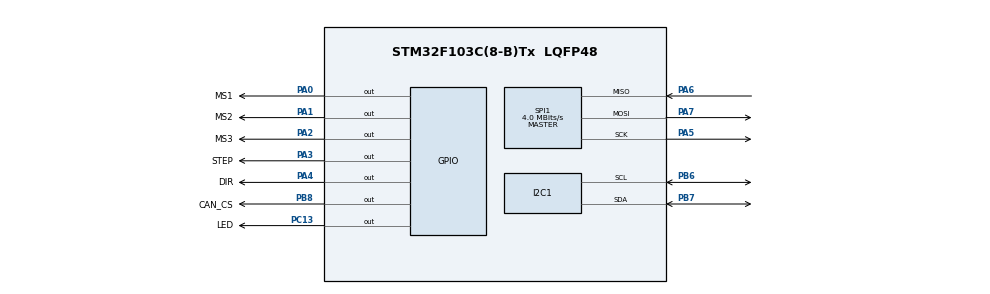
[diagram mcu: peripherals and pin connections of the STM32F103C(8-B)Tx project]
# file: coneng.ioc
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Mcu.Family=STM32F1
Mcu.Name=STM32F103C(8-B)Tx
Mcu.Package=LQFP48
NVIC.PriorityGroup=NVIC_PRIORITYGROUP_4
PA0-WKUP.GPIO_Label=MS1
PA0-WKUP.Signal=GPIO_Output
PA1.GPIO_Label=MS2
PA1.Signal=GPIO_Output
PA13.Mode=Serial_Wire
PA13.Signal=SYS_JTMS-SWDIO
PA14.Mode=Serial_Wire
PA14.Signal=SYS_JTCK-SWCLK
PA2.GPIO_Label=MS3
PA2.Signal=GPIO_Output
PA3.GPIO_Label=STEP
PA3.Signal=GPIO_Output
PA4.GPIO_Label=DIR
PA4.Signal=GPIO_Output
PA5.Mode=Full_Duplex_Master
PA5.Signal=SPI1_SCK
PA6.Mode=Full_Duplex_Master
PA6.Signal=SPI1_MISO
PA7.Mode=Full_Duplex_Master
PA7.Signal=SPI1_MOSI
PB6.Mode=I2C
PB6.Signal=I2C1_SCL
PB7.Mode=I2C
PB7.Signal=I2C1_SDA
PB8.GPIO_Label=CAN_CS
PB8.Signal=GPIO_Output
PC13-TAMPER-RTC.GPIO_Label=LED
PC13-TAMPER-RTC.PinState=GPIO_PIN_SET
PC13-TAMPER-RTC.Signal=GPIO_Output
PD0-OSC_IN.Mode=HSE-External-Oscillator
PD0-OSC_IN.Signal=RCC_OSC_IN
PD1-OSC_OUT.Mode=HSE-External-Oscillator
PD1-OSC_OUT.Signal=RCC_OSC_OUT
ProjectManager.HeapSize=0x200
ProjectManager.StackSize=0x400
ProjectManager.TargetToolchain=STM32CubeIDE
RCC.APB1Freq_Value=8000000
RCC.APB2Freq_Value=8000000
SPI1.CalculateBaudRate=4.0 MBits/s
SPI1.Direction=SPI_DIRECTION_2LINES
SPI1.Mode=SPI_MODE_MASTER
SPI1.VirtualType=VM_MASTER
board=custom

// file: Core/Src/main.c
/* USER CODE BEGIN Header */
/**
  ******************************************************************************
  * @file           : main.c
  * @brief          : Main program body
  ******************************************************************************
  * @attention
  *
  * Copyright (c) 2024 STMicroelectronics.
  * All rights reserved.
  *
  * This software is licensed under terms that can be found in the LICENSE file
  * in the root directory of this software component.
  * If no LICENSE file comes with this software, it is provided AS-IS.
  *
  ******************************************************************************
  */
/* USER CODE END Header */
#include "main.h"

/* USER CODE BEGIN Includes */
#include "CANSPI.h"
#include "a4988.h"
/* USER CODE END Includes */

I2C_HandleTypeDef hi2c1;

SPI_HandleTypeDef hspi1;

/* USER CODE BEGIN PV */
uCAN_MSG txMessage;
uCAN_MSG rxMessage;
/* USER CODE END PV */

void SystemClock_Config(void);
static void MX_GPIO_Init(void);
static void MX_I2C1_Init(void);
static void MX_SPI1_Init(void);

int main(void)
{
  /* USER CODE BEGIN 1 */
  a4988_t driver;
  /* USER CODE END 1 */

  /* MCU Configuration--------------------------------------------------------*/

  /* Reset of all peripherals, Initializes the Flash interface and the Systick. */
  HAL_Init();

  /* Configure the system clock */
  SystemClock_Config();

  /* Initialize all configured peripherals */
  MX_GPIO_Init();
  MX_I2C1_Init();
  MX_SPI1_Init();
  /* USER CODE BEGIN 2 */
  CANSPI_Initialize();
  a4988_init(&driver, DIR_GPIO_Port, DIR_Pin,
		  	  	  	  STEP_GPIO_Port, STEP_Pin,
					  MS1_GPIO_Port, MS1_Pin,
					  MS2_GPIO_Port, MS2_Pin,
					  MS3_GPIO_Port, MS3_Pin);
  /* USER CODE END 2 */

  /* Infinite loop */
  /* USER CODE BEGIN WHILE */
  a4988_set_delay(&driver, 1);
  while (1)
  {
	  if(CANSPI_Receive(&rxMessage)) {
	  	if (rxMessage.frame.data0 % 2) {
  			HAL_GPIO_WritePin(LED_GPIO_Port, LED_Pin, GPIO_PIN_RESET);
	  		HAL_Delay(200);
  			HAL_GPIO_WritePin(LED_GPIO_Port, LED_Pin, GPIO_PIN_SET);

	  		a4988_move(&driver, 256);
	  		a4988_toggle_dir(&driver);
	  	}
	  }

	  HAL_Delay(1000);
    /* USER CODE END WHILE */

  }
}

void SystemClock_Config(void)
{
  RCC_OscInitTypeDef RCC_OscInitStruct = {0};
  RCC_ClkInitTypeDef RCC_ClkInitStruct = {0};

  /** Initializes the RCC Oscillators according to the specified parameters
  * in the RCC_OscInitTypeDef structure.
  */
  RCC_OscInitStruct.OscillatorType = RCC_OSCILLATORTYPE_HSI;
  RCC_OscInitStruct.HSIState = RCC_HSI_ON;
  RCC_OscInitStruct.HSICalibrationValue = RCC_HSICALIBRATION_DEFAULT;
  RCC_OscInitStruct.PLL.PLLState = RCC_PLL_NONE;
  if (HAL_RCC_OscConfig(&RCC_OscInitStruct) != HAL_OK)
  {
    Error_Handler();
  }

  /** Initializes the CPU, AHB and APB buses clocks
  */
  RCC_ClkInitStruct.ClockType = RCC_CLOCKTYPE_HCLK|RCC_CLOCKTYPE_SYSCLK
                              |RCC_CLOCKTYPE_PCLK1|RCC_CLOCKTYPE_PCLK2;
  RCC_ClkInitStruct.SYSCLKSource = RCC_SYSCLKSOURCE_HSI;
  RCC_ClkInitStruct.AHBCLKDivider = RCC_SYSCLK_DIV1;
  RCC_ClkInitStruct.APB1CLKDivider = RCC_HCLK_DIV1;
  RCC_ClkInitStruct.APB2CLKDivider = RCC_HCLK_DIV1;

  if (HAL_RCC_ClockConfig(&RCC_ClkInitStruct, FLASH_LATENCY_0) != HAL_OK)
  {
    Error_Handler();
  }
}

static void MX_I2C1_Init(void)
{

  hi2c1.Instance = I2C1;
  hi2c1.Init.ClockSpeed = 100000;
  hi2c1.Init.DutyCycle = I2C_DUTYCYCLE_2;
  hi2c1.Init.OwnAddress1 = 0;
  hi2c1.Init.AddressingMode = I2C_ADDRESSINGMODE_7BIT;
  hi2c1.Init.DualAddressMode = I2C_DUALADDRESS_DISABLE;
  hi2c1.Init.OwnAddress2 = 0;
  hi2c1.Init.GeneralCallMode = I2C_GENERALCALL_DISABLE;
  hi2c1.Init.NoStretchMode = I2C_NOSTRETCH_DISABLE;
  if (HAL_I2C_Init(&hi2c1) != HAL_OK)
  {
    Error_Handler();
  }

}

static void MX_SPI1_Init(void)
{

  /* SPI1 parameter configuration*/
  hspi1.Instance = SPI1;
  hspi1.Init.Mode = SPI_MODE_MASTER;
  hspi1.Init.Direction = SPI_DIRECTION_2LINES;
  hspi1.Init.DataSize = SPI_DATASIZE_8BIT;
  hspi1.Init.CLKPolarity = SPI_POLARITY_LOW;
  hspi1.Init.CLKPhase = SPI_PHASE_1EDGE;
  hspi1.Init.NSS = SPI_NSS_SOFT;
  hspi1.Init.BaudRatePrescaler = SPI_BAUDRATEPRESCALER_2;
  hspi1.Init.FirstBit = SPI_FIRSTBIT_MSB;
  hspi1.Init.TIMode = SPI_TIMODE_DISABLE;
  hspi1.Init.CRCCalculation = SPI_CRCCALCULATION_DISABLE;
  hspi1.Init.CRCPolynomial = 10;
  if (HAL_SPI_Init(&hspi1) != HAL_OK)
  {
    Error_Handler();
  }

}

static void MX_GPIO_Init(void)
{
  GPIO_InitTypeDef GPIO_InitStruct = {0};

  /* GPIO Ports Clock Enable */
  __HAL_RCC_GPIOC_CLK_ENABLE();
  __HAL_RCC_GPIOD_CLK_ENABLE();
  __HAL_RCC_GPIOA_CLK_ENABLE();
  __HAL_RCC_GPIOB_CLK_ENABLE();

  /*Configure GPIO pin Output Level */
  HAL_GPIO_WritePin(LED_GPIO_Port, LED_Pin, GPIO_PIN_SET);

  /*Configure GPIO pin Output Level */
  HAL_GPIO_WritePin(GPIOA, MS1_Pin|MS2_Pin|MS3_Pin|STEP_Pin
                          |DIR_Pin, GPIO_PIN_RESET);

  /*Configure GPIO pin Output Level */
  HAL_GPIO_WritePin(CAN_CS_GPIO_Port, CAN_CS_Pin, GPIO_PIN_RESET);

  /*Configure GPIO pin : LED_Pin */
  GPIO_InitStruct.Pin = LED_Pin;
  GPIO_InitStruct.Mode = GPIO_MODE_OUTPUT_PP;
  GPIO_InitStruct.Pull = GPIO_NOPULL;
  GPIO_InitStruct.Speed = GPIO_SPEED_FREQ_LOW;
  HAL_GPIO_Init(LED_GPIO_Port, &GPIO_InitStruct);

  /*Configure GPIO pins : MS1_Pin MS2_Pin MS3_Pin STEP_Pin
                           DIR_Pin */
  GPIO_InitStruct.Pin = MS1_Pin|MS2_Pin|MS3_Pin|STEP_Pin
                          |DIR_Pin;
  GPIO_InitStruct.Mode = GPIO_MODE_OUTPUT_PP;
  GPIO_InitStruct.Pull = GPIO_NOPULL;
  GPIO_InitStruct.Speed = GPIO_SPEED_FREQ_LOW;
  HAL_GPIO_Init(GPIOA, &GPIO_InitStruct);

  /*Configure GPIO pin : CAN_CS_Pin */
  GPIO_InitStruct.Pin = CAN_CS_Pin;
  GPIO_InitStruct.Mode = GPIO_MODE_OUTPUT_PP;
  GPIO_InitStruct.Pull = GPIO_NOPULL;
  GPIO_InitStruct.Speed = GPIO_SPEED_FREQ_LOW;
  HAL_GPIO_Init(CAN_CS_GPIO_Port, &GPIO_InitStruct);

}

void Error_Handler(void)
{
  __disable_irq();
  while (1)
  {
  }
}
